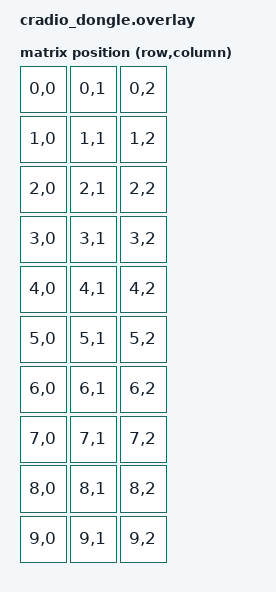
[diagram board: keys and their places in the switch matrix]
#include <dt-bindings/zmk/matrix_transform.h>

/ {
    chosen {
        zmk,kscan = &mock_kscan;
        zmk,physical-layout = &physical_layout0;
    };

    mock_kscan: mock_kscan_0 {
        compatible = "zmk,kscan-mock";
        columns = <0>;
        rows = <0>;
        events = <0>;
    };

    default_transform: keymap_transform_0 {
        compatible = "zmk,matrix-transform";
        columns = <3>;
        rows = <10>;
        map = <
            RC(0,0) RC(0,1) RC(0,2)
            RC(1,0) RC(1,1) RC(1,2)
            RC(2,0) RC(2,1) RC(2,2)
            RC(3,0) RC(3,1) RC(3,2)
            RC(4,0) RC(4,1) RC(4,2)
            RC(5,0) RC(5,1) RC(5,2)
            RC(6,0) RC(6,1) RC(6,2)
            RC(7,0) RC(7,1) RC(7,2)
            RC(8,0) RC(8,1) RC(8,2)
            RC(9,0) RC(9,1) RC(9,2)
        >;
    };

    physical_layout0: physical_layout_0 {
        compatible = "zmk,physical-layout";
        display-name = "Cradio Dongle Layout";
        transform = <&default_transform>;
    };
};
